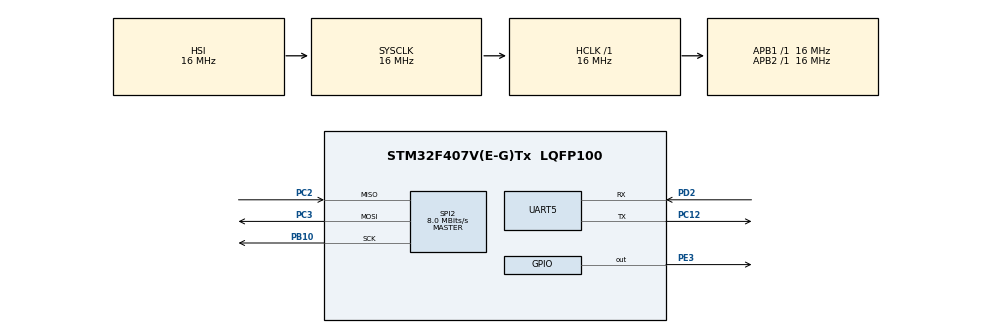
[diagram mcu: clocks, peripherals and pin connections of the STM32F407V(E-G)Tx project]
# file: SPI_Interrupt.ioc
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Mcu.Family=STM32F4
Mcu.Name=STM32F407V(E-G)Tx
Mcu.Package=LQFP100
NVIC.PriorityGroup=NVIC_PRIORITYGROUP_4
NVIC.SPI2_IRQn=true\:0\:0\:false\:false\:true\:true\:true\:true
PA13.Mode=Serial_Wire
PA13.Signal=SYS_JTMS-SWDIO
PA14.Mode=Serial_Wire
PA14.Signal=SYS_JTCK-SWCLK
PB10.Mode=Full_Duplex_Master
PB10.Signal=SPI2_SCK
PC12.Mode=Asynchronous
PC12.Signal=UART5_TX
PC2.Mode=Full_Duplex_Master
PC2.Signal=SPI2_MISO
PC3.Mode=Full_Duplex_Master
PC3.Signal=SPI2_MOSI
PD2.Mode=Asynchronous
PD2.Signal=UART5_RX
PE3.Signal=GPIO_Output
ProjectManager.HeapSize=0x200
ProjectManager.StackSize=0x400
ProjectManager.TargetToolchain=MDK-ARM V5.32
RCC.AHBFreq_Value=16000000
RCC.APB1Freq_Value=16000000
RCC.APB2Freq_Value=16000000
RCC.CortexFreq_Value=16000000
RCC.HSE_VALUE=25000000
RCC.HSI_VALUE=16000000
RCC.LSE_VALUE=32768
RCC.SYSCLKFreq_VALUE=16000000
RCC.VCOOutputFreq_Value=192000000
SPI2.CLKPhase=SPI_PHASE_2EDGE
SPI2.CLKPolarity=SPI_POLARITY_HIGH
SPI2.CalculateBaudRate=8.0 MBits/s
SPI2.Direction=SPI_DIRECTION_2LINES
SPI2.Mode=SPI_MODE_MASTER
SPI2.VirtualType=VM_MASTER
UART5.VirtualMode=Asynchronous
board=custom

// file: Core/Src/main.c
/* USER CODE BEGIN Header */
/**
  ******************************************************************************
  * @file           : main.c
  * @brief          : Main program body
  ******************************************************************************
  * @attention
  *
  * Copyright (c) 2026 STMicroelectronics.
  * All rights reserved.
  *
  * This software is licensed under terms that can be found in the LICENSE file
  * in the root directory of this software component.
  * If no LICENSE file comes with this software, it is provided AS-IS.
  *
  ******************************************************************************
  */
/* USER CODE END Header */
#include "main.h"

/* USER CODE BEGIN Includes */
#include <stdio.h>
#include <string.h>
/* USER CODE END Includes */

/* USER CODE BEGIN PD */
#define WHO_AM_I_MPU6500    0x75
#define PWR_MGMT_1          0x6B
#define ACCEL_XOUT_H        0x3B

#define MPU6500_CS_PORT     GPIOE
#define MPU6500_CS_PIN      GPIO_PIN_3

#define ACCEL_DATA_LEN      6
#define ACCEL_SPI_LEN       7   // 1 byte address + 6 bytes accel data
/* USER CODE END PD */

SPI_HandleTypeDef hspi2;

UART_HandleTypeDef huart5;

/* USER CODE BEGIN PV */
static uint8_t accelTx_IT[ACCEL_SPI_LEN];
static uint8_t accelRx_IT[ACCEL_SPI_LEN];
static uint8_t accelData[ACCEL_DATA_LEN];

static volatile uint8_t accelBusy = 0;
static volatile uint8_t accelReady = 0;
/* USER CODE END PV */

void SystemClock_Config(void);
static void MX_GPIO_Init(void);
static void MX_SPI2_Init(void);
static void MX_UART5_Init(void);

/* USER CODE BEGIN 0 */
static void UART_Print(char *str)
{
    HAL_UART_Transmit(&huart5, (uint8_t *)str, strlen(str), 100);
}

static void MPU6500_CS_LOW(void)
{
    HAL_GPIO_WritePin(MPU6500_CS_PORT, MPU6500_CS_PIN, GPIO_PIN_RESET);
}

static void MPU6500_CS_HIGH(void)
{
    HAL_GPIO_WritePin(MPU6500_CS_PORT, MPU6500_CS_PIN, GPIO_PIN_SET);
}

static HAL_StatusTypeDef MPU6500_ReadReg(uint8_t reg, uint8_t *data)
{
    HAL_StatusTypeDef ret;
    uint8_t tx[2];
    uint8_t rx[2];

    tx[0] = reg | 0x80;   // read command
    tx[1] = 0x00;         // dummy byte

    MPU6500_CS_LOW();
    ret = HAL_SPI_TransmitReceive(&hspi2, tx, rx, 2, 100);
    MPU6500_CS_HIGH();

    if (ret == HAL_OK)
    {
        *data = rx[1];
    }

    return ret;
}

static HAL_StatusTypeDef MPU6500_WriteReg(uint8_t reg, uint8_t data)
{
    HAL_StatusTypeDef ret;
    uint8_t tx[2];

    tx[0] = reg & 0x7F;   // write command
    tx[1] = data;

    MPU6500_CS_LOW();
    ret = HAL_SPI_Transmit(&hspi2, tx, 2, 100);
    MPU6500_CS_HIGH();

    return ret;
}

static HAL_StatusTypeDef MPU6500_ReadAccel_IT(void)
{
    HAL_StatusTypeDef ret;

    if (accelBusy)
    {
        return HAL_BUSY;
    }

    accelTx_IT[0] = ACCEL_XOUT_H | 0x80;

    for (uint8_t i = 1; i < ACCEL_SPI_LEN; i++)
    {
        accelTx_IT[i] = 0x00;   // dummy bytes
    }

    accelBusy = 1;
    accelReady = 0;

    MPU6500_CS_LOW();

    ret = HAL_SPI_TransmitReceive_IT(&hspi2,
                                      accelTx_IT,
                                      accelRx_IT,
                                      ACCEL_SPI_LEN);

    if (ret != HAL_OK)
    {
        MPU6500_CS_HIGH();
        accelBusy = 0;
    }

    return ret;
}
/* USER CODE END 0 */

int main(void)
{

  /* MCU Configuration--------------------------------------------------------*/

  /* Reset of all peripherals, Initializes the Flash interface and the Systick. */
  HAL_Init();

  /* Configure the system clock */
  SystemClock_Config();

  /* Initialize all configured peripherals */
  MX_GPIO_Init();
  MX_SPI2_Init();
  MX_UART5_Init();
  /* USER CODE BEGIN 2 */
	uint8_t readData = 0;
	HAL_StatusTypeDef ret;

	int16_t accelX = 0;
	int16_t accelY = 0;
	int16_t accelZ = 0;

	char msg[128];
	uint32_t lastAccelTick = 0;

	MPU6500_CS_HIGH();

	HAL_Delay(100);

	/* 1. Read WHO_AM_I */
	ret = MPU6500_ReadReg(WHO_AM_I_MPU6500, &readData);

	if (ret == HAL_OK)
	{
			snprintf(msg, sizeof(msg), "WHO_AM_I = 0x%02X\r\n", readData);
			UART_Print(msg);

			if (readData == 0x70)
			{
					UART_Print("MPU6500 detected.\r\n");
			}
			else
			{
					UART_Print("WHO_AM_I value is not 0x70.\r\n");
			}
	}
	else
	{
			UART_Print("Read WHO_AM_I failed.\r\n");
	}

	/* 2. Wake up MPU6500 */
	ret = MPU6500_WriteReg(PWR_MGMT_1, 0x00);

	if (ret == HAL_OK)
	{
			UART_Print("Write PWR_MGMT_1 success.\r\n");
	}
	else
	{
			UART_Print("Write PWR_MGMT_1 failed.\r\n");
	}

	HAL_Delay(100);

	/* 3. Read back PWR_MGMT_1 */
	ret = MPU6500_ReadReg(PWR_MGMT_1, &readData);

	if (ret == HAL_OK)
	{
			snprintf(msg, sizeof(msg), "PWR_MGMT_1 = 0x%02X\r\n\r\n", readData);
			UART_Print(msg);
	}
	else
	{
			UART_Print("Read PWR_MGMT_1 failed.\r\n\r\n");
	}

	UART_Print("Start reading ACCEL data by SPI interrupt...\r\n");

	ret = MPU6500_ReadAccel_IT();

	if (ret == HAL_OK)
	{
			UART_Print("First ACCEL SPI interrupt read started.\r\n");
	}
	else
	{
			UART_Print("First ACCEL SPI interrupt read failed.\r\n");
	}
  /* USER CODE END 2 */

  /* Infinite loop */
  while (1)
  {

    /* USER CODE BEGIN 3 */
		if (accelReady)
		{
				accelReady = 0;

				accelX = (int16_t)((accelData[0] << 8) | accelData[1]);
				accelY = (int16_t)((accelData[2] << 8) | accelData[3]);
				accelZ = (int16_t)((accelData[4] << 8) | accelData[5]);

				float accelX_g, accelY_g, accelZ_g;

				accelX_g = accelX / 16384.0f;
				accelY_g = accelY / 16384.0f;
				accelZ_g = accelZ / 16384.0f;

				snprintf(msg, sizeof(msg),
								 "AX = %.3f g, AY = %.3f g, AZ = %.3f g\r\n",
								 accelX_g, accelY_g, accelZ_g);

				UART_Print(msg);

				HAL_Delay(500);

				ret = MPU6500_ReadAccel_IT();

				if ((ret != HAL_OK) && (ret != HAL_BUSY))
				{
						UART_Print("Restart ACCEL SPI interrupt read failed.\r\n");
				}
		}
  }
  /* USER CODE END 3 */
}

void SystemClock_Config(void)
{
  RCC_OscInitTypeDef RCC_OscInitStruct = {0};
  RCC_ClkInitTypeDef RCC_ClkInitStruct = {0};

  /** Configure the main internal regulator output voltage
  */
  __HAL_RCC_PWR_CLK_ENABLE();
  __HAL_PWR_VOLTAGESCALING_CONFIG(PWR_REGULATOR_VOLTAGE_SCALE1);

  /** Initializes the RCC Oscillators according to the specified parameters
  * in the RCC_OscInitTypeDef structure.
  */
  RCC_OscInitStruct.OscillatorType = RCC_OSCILLATORTYPE_HSI;
  RCC_OscInitStruct.HSIState = RCC_HSI_ON;
  RCC_OscInitStruct.HSICalibrationValue = RCC_HSICALIBRATION_DEFAULT;
  RCC_OscInitStruct.PLL.PLLState = RCC_PLL_NONE;
  if (HAL_RCC_OscConfig(&RCC_OscInitStruct) != HAL_OK)
  {
    Error_Handler();
  }

  /** Initializes the CPU, AHB and APB buses clocks
  */
  RCC_ClkInitStruct.ClockType = RCC_CLOCKTYPE_HCLK|RCC_CLOCKTYPE_SYSCLK
                              |RCC_CLOCKTYPE_PCLK1|RCC_CLOCKTYPE_PCLK2;
  RCC_ClkInitStruct.SYSCLKSource = RCC_SYSCLKSOURCE_HSI;
  RCC_ClkInitStruct.AHBCLKDivider = RCC_SYSCLK_DIV1;
  RCC_ClkInitStruct.APB1CLKDivider = RCC_HCLK_DIV1;
  RCC_ClkInitStruct.APB2CLKDivider = RCC_HCLK_DIV1;

  if (HAL_RCC_ClockConfig(&RCC_ClkInitStruct, FLASH_LATENCY_0) != HAL_OK)
  {
    Error_Handler();
  }
}

static void MX_SPI2_Init(void)
{

  /* SPI2 parameter configuration*/
  hspi2.Instance = SPI2;
  hspi2.Init.Mode = SPI_MODE_MASTER;
  hspi2.Init.Direction = SPI_DIRECTION_2LINES;
  hspi2.Init.DataSize = SPI_DATASIZE_8BIT;
  hspi2.Init.CLKPolarity = SPI_POLARITY_HIGH;
  hspi2.Init.CLKPhase = SPI_PHASE_2EDGE;
  hspi2.Init.NSS = SPI_NSS_SOFT;
  hspi2.Init.BaudRatePrescaler = SPI_BAUDRATEPRESCALER_2;
  hspi2.Init.FirstBit = SPI_FIRSTBIT_MSB;
  hspi2.Init.TIMode = SPI_TIMODE_DISABLE;
  hspi2.Init.CRCCalculation = SPI_CRCCALCULATION_DISABLE;
  hspi2.Init.CRCPolynomial = 10;
  if (HAL_SPI_Init(&hspi2) != HAL_OK)
  {
    Error_Handler();
  }

}

static void MX_UART5_Init(void)
{

  huart5.Instance = UART5;
  huart5.Init.BaudRate = 115200;
  huart5.Init.WordLength = UART_WORDLENGTH_8B;
  huart5.Init.StopBits = UART_STOPBITS_1;
  huart5.Init.Parity = UART_PARITY_NONE;
  huart5.Init.Mode = UART_MODE_TX_RX;
  huart5.Init.HwFlowCtl = UART_HWCONTROL_NONE;
  huart5.Init.OverSampling = UART_OVERSAMPLING_16;
  if (HAL_UART_Init(&huart5) != HAL_OK)
  {
    Error_Handler();
  }

}

static void MX_GPIO_Init(void)
{
  GPIO_InitTypeDef GPIO_InitStruct = {0};

  /* GPIO Ports Clock Enable */
  __HAL_RCC_GPIOE_CLK_ENABLE();
  __HAL_RCC_GPIOC_CLK_ENABLE();
  __HAL_RCC_GPIOB_CLK_ENABLE();
  __HAL_RCC_GPIOA_CLK_ENABLE();
  __HAL_RCC_GPIOD_CLK_ENABLE();

  /*Configure GPIO pin Output Level */
  HAL_GPIO_WritePin(GPIOE, GPIO_PIN_3, GPIO_PIN_RESET);

  /*Configure GPIO pin : PE3 */
  GPIO_InitStruct.Pin = GPIO_PIN_3;
  GPIO_InitStruct.Mode = GPIO_MODE_OUTPUT_PP;
  GPIO_InitStruct.Pull = GPIO_NOPULL;
  GPIO_InitStruct.Speed = GPIO_SPEED_FREQ_LOW;
  HAL_GPIO_Init(GPIOE, &GPIO_InitStruct);

}

/* USER CODE BEGIN 4 */
void HAL_SPI_TxRxCpltCallback(SPI_HandleTypeDef *hspi)
{
    if (hspi->Instance == SPI2)
    {
        MPU6500_CS_HIGH();

        accelData[0] = accelRx_IT[1];
        accelData[1] = accelRx_IT[2];
        accelData[2] = accelRx_IT[3];
        accelData[3] = accelRx_IT[4];
        accelData[4] = accelRx_IT[5];
        accelData[5] = accelRx_IT[6];

        accelBusy = 0;
        accelReady = 1;
    }
}

void HAL_SPI_ErrorCallback(SPI_HandleTypeDef *hspi)
{
    if (hspi->Instance == SPI2)
    {
        MPU6500_CS_HIGH();

        accelBusy = 0;
        accelReady = 0;
    }
}
/* USER CODE END 4 */

void Error_Handler(void)
{
  __disable_irq();
  while (1)
  {
  }
}
